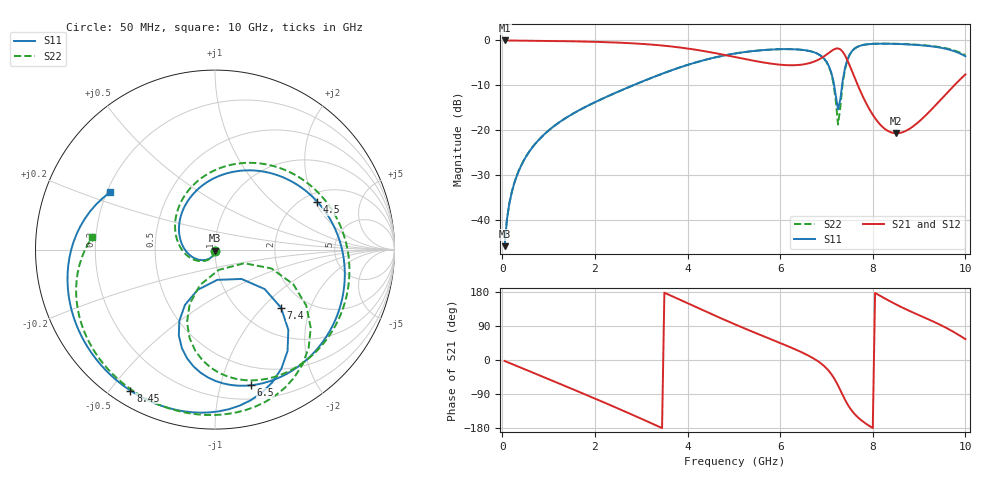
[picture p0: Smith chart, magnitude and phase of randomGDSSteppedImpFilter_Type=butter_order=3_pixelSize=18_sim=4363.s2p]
! freq	dB(S11)	phase(S11)	dB(S12)	phase(S12)
!  dB(S21)	phase(S21)	dB(S22)	phase(S22)
!S-par simulation data
#  GHz  S  DB  R 50
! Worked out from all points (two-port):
!   200 points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, 50 MHz to 10 GHz, reference 50 ohm
!   highest |S21| = 0.00 dB at 50 MHz (marker M1); lowest = -20.7 dB at 8.5 GHz (marker M2)
!   |S21| within 3 dB of the highest: start of sweep to 4.684 GHz; 7.023 GHz to 7.38 GHz (357.7 MHz wide, 4.97 % of centre)
!   lowest |S11| = -46.0 dB at 50 MHz (marker M3), VSWR 1.01, Z = 50 - j0.503 ohm
!   |S11| at or under -10 dB: start of sweep to 2.829 GHz; 7.164 GHz to 7.338 GHz (173.9 MHz wide, 2.4 % of centre)
!   |S22| runs from -45.9 to -0.7 dB; largest |S21 - S12| = 0
!   S11 on the Smith chart (normalised r, x): 50 MHz: 1.00, -0.01; 4.5 GHz: 2.36, +2.09; 6.5 GHz: 0.32, -1.25; 7.4 GHz: 1.51, -1.28; 8.45 GHz: 0.06, -0.56; 10 GHz: 0.21, +0.24
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0.05  -45.96 -91.3  -0.00 -2.6  -0.00 -2.6  -45.89 -89.9
0.2  -34.10 -99.8  -0.02 -10.1  -0.02 -10.1  -34.06 -99.0
0.5  -26.17 -116.8  -0.05 -25.3  -0.05 -25.3  -26.13 -114.3
1.15  -18.88 -151.8  -0.13 -58.1  -0.13 -58.1  -18.88 -146.5
1.75  -15.09 175.9  -0.24 -88.8  -0.24 -88.8  -15.10 -175.9
2.7  -10.56 124.2  -0.58 -138.7  -0.58 -138.7  -10.57 135.7
3.4  -7.64 85.5  -1.08 -176.9  -1.08 -176.9  -7.65 98.2
4.5  -4.02 25.0  -2.65 122.1  -2.65 122.1  -4.03 37.4
5.05  -2.87 -3.8  -3.76 92.7  -3.76 92.7  -2.88 8.1
5.75  -2.07 -38.2  -5.10 57.3  -5.10 57.3  -2.07 -27.2
6.5  -2.13 -75.2  -5.36 18.4  -5.36 18.4  -2.13 -65.2
6.7  -2.54 -86.6  -4.85 5.6  -4.85 5.6  -2.54 -77.1
7.1  -7.05 -116.6  -2.41 -36.4  -2.41 -36.4  -7.25 -111.0
7.25  -15.44 -85.6  -1.78 -67.2  -1.78 -67.2  -18.80 -79.5
7.4  -6.19 -41.3  -3.33 -104.7  -3.33 -104.7  -6.44 -23.8
7.55  -2.39 -60.9  -6.83 -134.1  -6.83 -134.1  -2.43 -46.3
7.75  -1.11 -81.0  -11.73 -158.8  -11.73 -158.8  -1.11 -67.6
8.35  -0.74 -116.2  -20.34 156.4  -20.34 156.4  -0.70 -103.1
8.45  -0.76 -121.0  -20.69 150.0  -20.69 150.0  -0.72 -107.8
8.5  -0.78 -123.3  -20.74 146.8  -20.74 146.8  -0.74 -110.0
9.35  -1.43 -165.0  -14.54 99.1  -14.54 99.1  -1.34 -148.8
10  -3.53 151.4  -7.59 55.0  -7.59 55.0  -3.26 174.3
